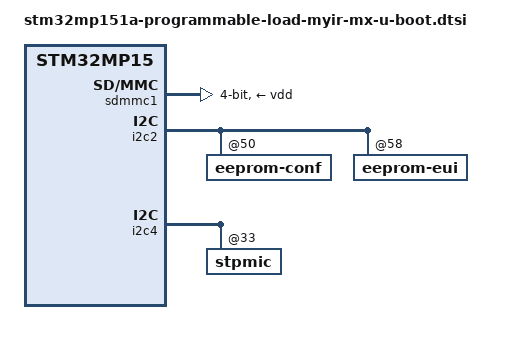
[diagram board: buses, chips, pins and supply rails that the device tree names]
/* SPDX-License-Identifier: GPL-2.0+ OR BSD-3-Clause*/
/*
 * Copyright (C) 2022, STMicroelectronics - All Rights Reserved
 * Author: STM32CubeMX code generation for STMicroelectronics.
 */

/* For more information on Device Tree configuration, please refer to
 * https://wiki.st.com/stm32mpu/wiki/Category:Device_tree_configuration
 */

#include <dt-bindings/clock/stm32mp1-clksrc.h>

#include "stm32mp15-u-boot.dtsi"

#include "stm32mp15-mx.dtsi"
#include "stm32mp15-ddr.dtsi"

/* USER CODE BEGIN includes */
/* USER CODE END includes */

/ {

    /* USER CODE BEGIN root */
    config {
        u-boot,mmc-env-partition = "ssbl";
        u-boot,error-led = "error";
    };
    /*
    aliases {
        mmc0 = &sdmmc2;
        usb0 = &usbotg_hs;
    };*/
    led {
        u-boot,dm-pre-reloc;
        u-boot,dm-spl;
        // bicolor status LED
        status {
            u-boot,dm-pre-reloc;
            u-boot,dm-spl;
            label = "error";
            gpios = <&gpioz 6 GPIO_ACTIVE_LOW>;
            default-state = "off";
            status = "okay";
        };
    };
    /* USER CODE END root */

    clocks {
        /* USER CODE BEGIN clocks */
        u-boot,dm-pre-reloc;
        u-boot,dm-spl;
        /* USER CODE END clocks */

        clk_lsi: clk-lsi {

            /* USER CODE BEGIN clk_lsi */
            u-boot,dm-pre-reloc;
            u-boot,dm-spl;
            /* USER CODE END clk_lsi */
        };
        clk_hsi: clk-hsi {

            /* USER CODE BEGIN clk_hsi */
            u-boot,dm-pre-reloc;
            u-boot,dm-spl;
            /* USER CODE END clk_hsi */
        };
        clk_csi: clk-csi {
            /* USER CODE BEGIN clk_csi */
            u-boot,dm-pre-reloc;
            u-boot,dm-spl;
            /* USER CODE END clk_csi */
        };
        clk_lse: clk-lse {
            st,css;

            /* USER CODE BEGIN clk_lse */
            u-boot,dm-pre-reloc;
            u-boot,dm-spl;
            st,css;
            st,drive = <LSEDRV_MEDIUM_HIGH>;
            clock-frequency = <32768>;
            /* USER CODE END clk_lse */
        };
        clk_hse: clk-hse {
            st,css;

            /* USER CODE BEGIN clk_hse */
            st,digbypass;
            u-boot,dm-spl;
            /* USER CODE END clk_hse */
        };
    };

}; /*root*/

&rcc{
        u-boot,dm-spl;
	u-boot,dm-pre-reloc;
	st,clksrc = <
		CLK_MPU_PLL1P
		CLK_AXI_PLL2P
		CLK_MCU_PLL3P
		CLK_PLL12_HSE
		CLK_PLL3_HSE
		CLK_PLL4_HSE
		CLK_RTC_LSE
		CLK_MCO1_DISABLED
		CLK_MCO2_DISABLED
	>;
	st,clkdiv = <
		1 		/*MPU*/
		0 		/*AXI*/
		0 		/*MCU*/
		1 		/*APB1*/
		1 		/*APB2*/
		1 		/*APB3*/
		1 		/*APB4*/
		2 		/*APB5*/
		23 		/*RTC*/
		0 		/*MCO1*/
		0 		/*MCO2*/
	>;
	st,pkcs = <
		CLK_CKPER_HSE
		CLK_ETH_PLL4P
	        CLK_SDMMC12_PLL3R
		CLK_STGEN_HSE
		CLK_USBPHY_HSE
		CLK_SPI2S1_DISABLED
		CLK_SPI2S23_PLL4P
		CLK_SPI45_PCLK2
		CLK_SPI6_DISABLED
		CLK_I2C46_HSI
		CLK_SDMMC3_DISABLED
		CLK_USBO_USBPHY
		CLK_ADC_DISABLED
		CLK_CEC_DISABLED
		CLK_I2C12_HSI
		CLK_I2C35_DISABLED
		CLK_UART1_DISABLED
		CLK_UART24_HSI
		CLK_UART35_HSI
		CLK_UART6_DISABLED
		CLK_UART78_DISABLED
		CLK_SPDIF_DISABLED
		CLK_SAI1_DISABLED
		CLK_SAI2_DISABLED
		CLK_SAI3_DISABLED
		CLK_SAI4_DISABLED
		CLK_RNG1_PLL4R
		CLK_RNG2_PLL4R
		CLK_LPTIM1_DISABLED
		CLK_LPTIM23_DISABLED
		CLK_LPTIM45_DISABLED
	>;


	//pll2:st,pll@1 {
	st,pll@1 {
		u-boot,dm-pre-reloc;
                u-boot,dm-spl;
	};
	//pll3:st,pll@2 {
	st,pll@2 {
		u-boot,dm-pre-reloc;
                u-boot,dm-spl;
	};
	//pll4:st,pll@3 {
	st,pll@3 {
		u-boot,dm-pre-reloc;
                u-boot,dm-spl;
	};
	/* USER CODE BEGIN rcc */
	/* USER CODE END rcc */
};

&vreg_5v {
    u-boot,dm-spl;
    u-boot,dm-pre-reloc;
};
&vreg_3v3 {
    u-boot,dm-spl;
    u-boot,dm-pre-reloc;
};

&pinctrl {
    u-boot,dm-spl;
};


/*
 * This interface isn't actually used; we just define it here so that U-boot will work. Since their
 * driver model cannot support "holes" in device numbers, and the eMMC is on device 1… yeah.
 */
&sdmmc1{
    u-boot,dm-pre-reloc;
    u-boot,dm-spl;
    status = "okay";
    disable-wp;
    st,neg-edge;
    bus-width = <4>;
    vmmc-supply = <&vdd>;
};

&sdmmc2{
	u-boot,dm-pre-reloc;

	/* USER CODE BEGIN sdmmc2 */
        u-boot,dm-spl;
	/* USER CODE END sdmmc2 */
};

&uart4{
	u-boot,dm-pre-reloc;

	/* USER CODE BEGIN uart4 */
        u-boot,dm-spl;
	/* USER CODE END uart4 */
};

&uart4_pins_mx {
    u-boot,dm-spl;
    u-boot,dm-pre-reloc;

    pins1 {
        u-boot,dm-spl;
        u-boot,dm-pre-reloc;
        // avoid floating uart rx input
        bias-pull-up;
    };
    pins2 {
        u-boot,dm-spl;
        u-boot,dm-pre-reloc;
    };
};

&usbotg_hs{
	u-boot,dm-pre-reloc;

	/* USER CODE BEGIN usbotg_hs */
        // force it into device mode
        u-boot,force-b-session-valid;
	/* USER CODE END usbotg_hs */
};

&usbphyc{
	u-boot,dm-pre-reloc;

	/* USER CODE BEGIN usbphyc */
	/* USER CODE END usbphyc */
};

&usbphyc_port0{
	u-boot,dm-pre-reloc;

	/* USER CODE BEGIN usbphyc_port0 */
	/* USER CODE END usbphyc_port0 */
};

&usbphyc_port1{
	u-boot,dm-pre-reloc;

	/* USER CODE BEGIN usbphyc_port1 */
	/* USER CODE END usbphyc_port1 */
};

/* USER CODE BEGIN addons */
// MXCube generated SDMMC pinout
&sdmmc2_pins_mx {
    u-boot,dm-spl;
    pins1 {
        u-boot,dm-spl;
    };
    pins2 {
        u-boot,dm-spl;
    };
};
&sdmmc2_opendrain_pins_mx {
    u-boot,dm-spl;
    pins1 {
        u-boot,dm-spl;
    };
    pins2 {
        u-boot,dm-spl;
    };
    pins3 {
        u-boot,dm-spl;
    };
};
&sdmmc2_sleep_pins_mx {
    u-boot,dm-spl;
    pins {
        u-boot,dm-spl;
    };

};

&i2c4_pins_z_mx {
    u-boot,dm-spl;
    u-boot,dm-pre-reloc;
    pins {
        u-boot,dm-spl;
        u-boot,dm-pre-reloc;
    };
};

&exti {
    u-boot,dm-spl;
    u-boot,dm-pre-reloc;
};

// i2c bus for auxiliary stuff
&i2c2 {
    u-boot,dm-pre-reloc;

    i2c-switch@70 {
        u-boot,dm-pre-reloc;
        i2c@0 {
            u-boot,dm-pre-reloc;
        };
        i2c@1 {
            u-boot,dm-pre-reloc;

            // config and MAC address EEPROM
            eeprom-conf@50 {
                u-boot,dm-pre-reloc;
            };
            eeprom-eui@58 {
                u-boot,dm-pre-reloc;
            };
        };
    };
};

// i2c bus for pmic
&i2c4 {
    u-boot,dm-spl;
    u-boot,dm-pre-reloc;

    stpmic@33 {
        u-boot,dm-spl;
        u-boot,dm-pre-reloc;

        regulators {
            u-boot,dm-spl;
            u-boot,dm-pre-reloc;

            buck1 { // Vcore
                u-boot,dm-spl;
                u-boot,dm-pre-reloc;
            };
            buck2 { // DDR
                u-boot,dm-spl;
                u-boot,dm-pre-reloc;
            };
            buck3 { // eMMC
                u-boot,dm-spl;
                u-boot,dm-pre-reloc;
            };
            buck4 { // eMMC
                u-boot,dm-spl;
                u-boot,dm-pre-reloc;
            };
            ldo1 { // analog reference
                u-boot,dm-spl;
                u-boot,dm-pre-reloc;
            };
            ldo4 { // USB PHYs
                u-boot,dm-spl;
                u-boot,dm-pre-reloc;
            };
            vref_ddr {
                u-boot,dm-spl;
                u-boot,dm-pre-reloc;
            };
            boost {
                u-boot,dm-spl;
                u-boot,dm-pre-reloc;
            };
            pwr_sw1 {
                u-boot,dm-spl;
                u-boot,dm-pre-reloc;
            };
            pwr_sw2 {
                u-boot,dm-spl;
                u-boot,dm-pre-reloc;
            };
        };
    };
};
/* USER CODE END addons */

